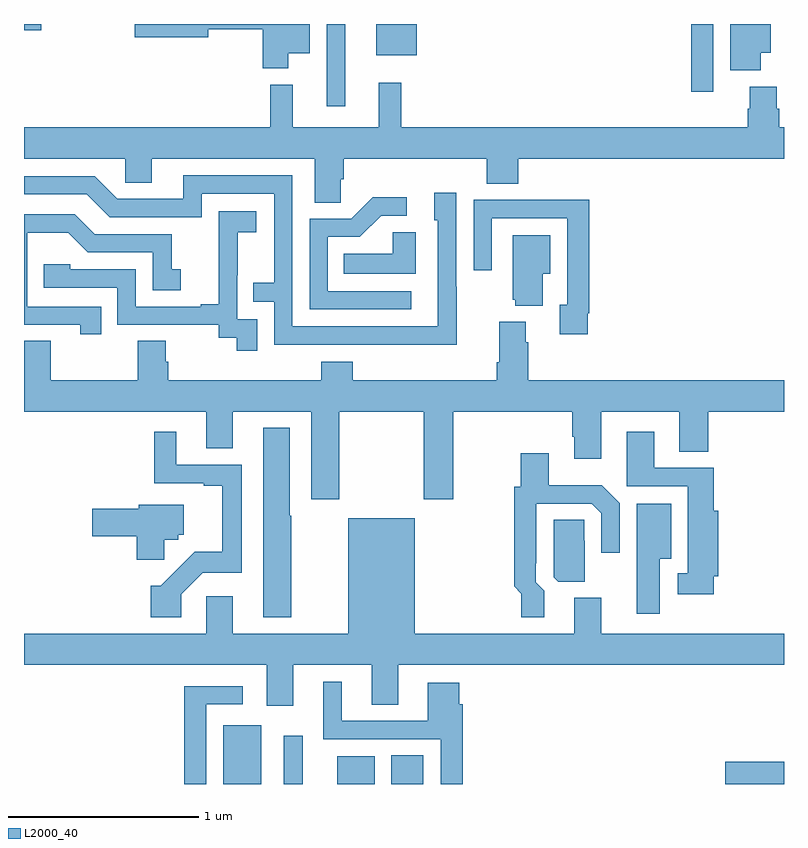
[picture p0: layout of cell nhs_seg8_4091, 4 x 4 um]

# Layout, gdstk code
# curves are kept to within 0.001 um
import gdstk
lib = gdstk.Library(unit=1e-6, precision=1e-09)
def R(c, l, rs):  # rectangles x0, y0, x1, y1
    for r in rs: c.add(gdstk.rectangle(r[:2], r[2:], *l))
def P(c, l, *ps):  # polygons
    for p in ps: c.add(gdstk.Polygon(p, *l))
L2000_40 = (2000, 40)

nhs_seg8_4091 = lib.new_cell('nhs_seg8_4091')
R(nhs_seg8_4091, L2000_40, [(364.049,1087.9,364.249,1088.209), (364.368,1087.9,364.466,1088.155), (364.649,1087.9,364.846,1088.047), (364.934,1087.9,365.101,1088.051), (366.69,1087.9,367,1088.018), (364.593,1091.466,364.69,1091.9), (366.511,1091.544,366.627,1091.9), (364.853,1091.735,365.068,1091.9), (363,1091.867,363.091,1091.9)])
P(nhs_seg8_4091, L2000_40, [(364.39,1091.747),(364.504,1091.747),(364.504,1091.9),(363.582,1091.9),(363.582,1091.83),(363.97,1091.83),(363.97,1091.872),(364.256,1091.872),(364.256,1091.666),(364.39,1091.666)],
  [(366.877,1091.75),(366.931,1091.75),(366.931,1091.9),(366.716,1091.9),(366.716,1091.657),(366.877,1091.657)],
  [(364.668,1091.083),(364.682,1091.083),(364.682,1091.192),(365.435,1091.192),(365.435,1091.059),(365.6,1091.059),(365.6,1091.192),(367,1091.192),(367,1091.356),(366.974,1091.356),(366.974,1091.454),(366.961,1091.454),(366.961,1091.569),(366.821,1091.569),(366.821,1091.454),(366.809,1091.454),(366.809,1091.356),(364.985,1091.356),(364.985,1091.59),(364.868,1091.59),(364.868,1091.356),(364.415,1091.356),(364.415,1091.581),(364.297,1091.581),(364.297,1091.356),(363,1091.356),(363,1091.192),(363.534,1091.192),(363.534,1091.065),(363.673,1091.065),(363.673,1091.192),(364.529,1091.192),(364.529,1090.96),(364.668,1090.96)],
  [(365.277,1090.517),(365.274,1090.517),(365.274,1091.011),(365.159,1091.011),(365.159,1090.866),(365.178,1090.866),(365.178,1090.308),(364.413,1090.308),(364.413,1091.103),(363.839,1091.103),(363.839,1090.98),(363.492,1090.98),(363.372,1091.1),(363,1091.1),(363,1091.004),(363.33,1091.004),(363.45,1090.884),(363.936,1090.884),(363.936,1091.007),(364.317,1091.007),(364.317,1090.538),(364.207,1090.538),(364.207,1090.437),(364.317,1090.437),(364.317,1090.212),(365.277,1090.211)],
  [(365.038,1090.494),(364.599,1090.494),(364.599,1090.779),(364.768,1090.779),(364.879,1090.89),(365.014,1090.89),(365.014,1090.988),(364.835,1090.988),(364.722,1090.875),(364.503,1090.875),(364.503,1090.398),(365.038,1090.398)],
  [(365.968,1090.378),(365.975,1090.378),(365.975,1090.976),(365.683,1090.976),(365.683,1090.974),(365.367,1090.974),(365.367,1090.605),(365.463,1090.605),(365.463,1090.878),(365.859,1090.878),(365.859,1090.422),(365.819,1090.422),(365.819,1090.266),(365.968,1090.266)],
  [(364.227,1090.347),(364.122,1090.347),(364.122,1090.577),(364.124,1090.577),(364.124,1090.805),(364.222,1090.805),(364.222,1090.915),(364.024,1090.915),(364.024,1090.709),(364.025,1090.709),(364.025,1090.426),(363.929,1090.426),(363.929,1090.413),(363.588,1090.413),(363.588,1090.608),(363.243,1090.608),(363.243,1090.635),(363.103,1090.635),(363.103,1090.512),(363.492,1090.512),(363.492,1090.317),(364.026,1090.317),(364.026,1090.249),(364.119,1090.249),(364.119,1090.179),(364.227,1090.179)],
  [(363.407,1090.413),(363.018,1090.413),(363.018,1090.802),(363.232,1090.802),(363.336,1090.698),(363.678,1090.698),(363.678,1090.5),(363.826,1090.5),(363.826,1090.609),(363.777,1090.609),(363.777,1090.794),(363.373,1090.794),(363.268,1090.899),(363,1090.899),(363,1090.317),(363.296,1090.317),(363.296,1090.266),(363.407,1090.266)],
  [(365.062,1090.805),(364.941,1090.805),(364.941,1090.69),(364.684,1090.69),(364.684,1090.586),(365.062,1090.586)],
  [(365.731,1090.586),(365.77,1090.586),(365.77,1090.789),(365.573,1090.789),(365.573,1090.449),(365.585,1090.449),(365.585,1090.418),(365.731,1090.418)],
  [(364.659,1089.86),(365.104,1089.86),(365.104,1089.399),(365.259,1089.399),(365.259,1089.86),(365.885,1089.86),(365.885,1089.727),(365.897,1089.727),(365.897,1089.612),(366.037,1089.612),(366.037,1089.86),(366.449,1089.86),(366.449,1089.649),(366.602,1089.649),(366.602,1089.86),(367,1089.86),(367,1090.024),(365.654,1090.024),(365.654,1090.226),(365.641,1090.226),(365.641,1090.333),(365.501,1090.333),(365.501,1090.12),(365.489,1090.12),(365.489,1090.024),(364.73,1090.024),(364.73,1090.123),(364.565,1090.123),(364.565,1090.024),(363.758,1090.024),(363.758,1090.122),(363.745,1090.122),(363.745,1090.232),(363.598,1090.232),(363.598,1090.024),(363.141,1090.024),(363.141,1090.232),(363,1090.232),(363,1089.86),(363.959,1089.86),(363.959,1089.666),(364.099,1089.666),(364.099,1089.86),(364.511,1089.86),(364.511,1089.399),(364.659,1089.399)],
  [(364.407,1089.311),(364.399,1089.311),(364.399,1089.775),(364.259,1089.775),(364.259,1088.777),(364.407,1088.777)],
  [(366.629,1088.993),(366.655,1088.993),(366.655,1089.337),(366.629,1089.337),(366.629,1089.564),(366.316,1089.564),(366.316,1089.754),(366.173,1089.754),(366.173,1089.468),(366.494,1089.468),(366.494,1089.01),(366.441,1089.01),(366.441,1088.9),(366.629,1088.9)],
  [(363.828,1088.898),(363.942,1089.012),(364.147,1089.012),(364.147,1089.579),(363.802,1089.579),(363.802,1089.754),(363.685,1089.754),(363.685,1089.483),(363.947,1089.483),(363.947,1089.471),(364.043,1089.471),(364.043,1089.122),(363.899,1089.122),(363.721,1088.944),(363.668,1088.944),(363.668,1088.778),(363.828,1088.778)],
  [(365.737,1088.918),(365.694,1088.961),(365.694,1089.061),(365.697,1089.061),(365.697,1089.375),(365.988,1089.375),(366.039,1089.324),(366.039,1089.117),(366.135,1089.117),(366.135,1089.378),(366.041,1089.472),(365.761,1089.472),(365.761,1089.64),(365.614,1089.64),(365.614,1089.465),(365.581,1089.465),(365.581,1089.122),(365.579,1089.122),(365.579,1088.94),(365.617,1088.901),(365.617,1088.778),(365.737,1088.778)],
  [(366.346,1089.086),(366.406,1089.086),(366.406,1089.376),(366.224,1089.376),(366.224,1088.796),(366.346,1088.796)],
  [(363.737,1089.186),(363.813,1089.186),(363.813,1089.213),(363.841,1089.213),(363.841,1089.37),(363.605,1089.37),(363.605,1089.35),(363.36,1089.35),(363.36,1089.203),(363.593,1089.203),(363.593,1089.081),(363.737,1089.081)],
  [(364.099,1088.887),(363.96,1088.887),(363.96,1088.692),(363,1088.692),(363,1088.528),(364.277,1088.528),(364.277,1088.313),(364.417,1088.313),(364.417,1088.528),(364.829,1088.528),(364.829,1088.317),(364.969,1088.317),(364.969,1088.528),(367,1088.528),(367,1088.692),(366.037,1088.692),(366.037,1088.88),(365.897,1088.88),(365.897,1088.692),(365.056,1088.692),(365.056,1089.298),(364.706,1089.298),(364.706,1088.692),(364.099,1088.692)],
  [(365.95,1089.179),(365.949,1089.179),(365.949,1089.29),(365.787,1089.29),(365.787,1088.988),(365.811,1088.965),(365.95,1088.965)],
  [(365.309,1088.321),(365.29,1088.321),(365.29,1088.434),(365.126,1088.434),(365.126,1088.232),(364.672,1088.232),(364.672,1088.437),(364.574,1088.437),(364.574,1088.136),(365.193,1088.136),(365.193,1087.9),(365.309,1087.9)],
  [(363.96,1088.319),(364.15,1088.319),(364.15,1088.415),(363.844,1088.415),(363.844,1087.9),(363.96,1087.9)])

lib.write_gds('nhs_seg8_4091.gds')
